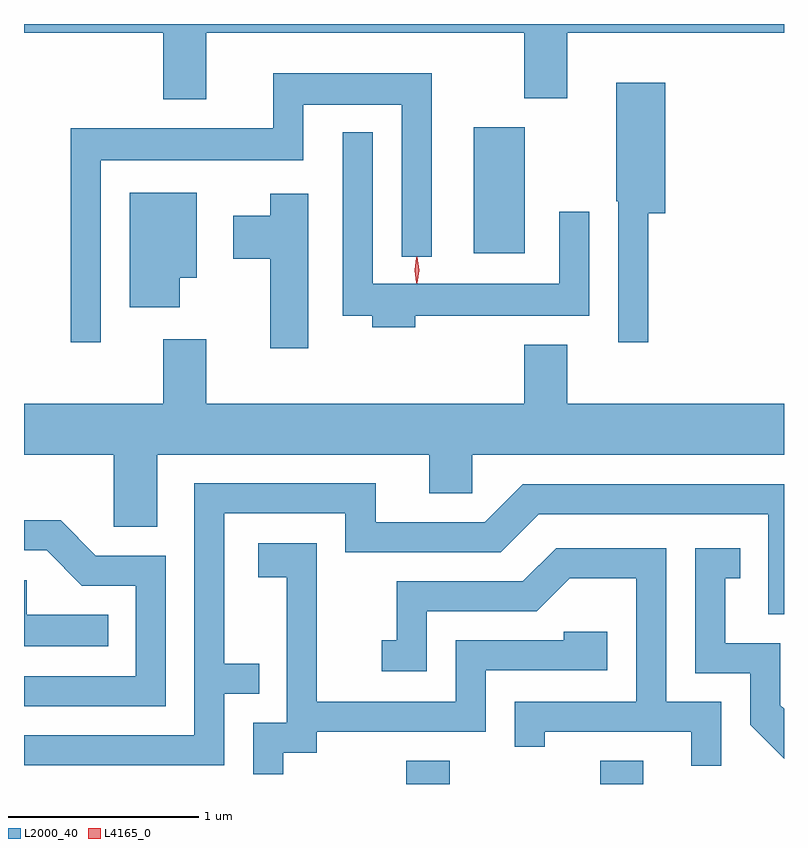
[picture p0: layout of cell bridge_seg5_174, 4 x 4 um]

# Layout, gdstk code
import gdstk
lib = gdstk.Library(unit=1e-6, precision=1e-09)
def R(c, l, rs):  # rectangles x0, y0, x1, y1
    for r in rs: c.add(gdstk.rectangle(r[:2], r[2:], *l))
def P(c, l, *ps):  # polygons
    for p in ps: c.add(gdstk.Polygon(p, *l))
L2000_40 = (2000, 40)
L4165_0 = (4165, 0)

bridge_seg5_174 = lib.new_cell('bridge_seg5_174')
R(bridge_seg5_174, L2000_40, [(1241.281,1412.882,1241.509,1413.004), (1242.301,1412.882,1242.529,1413.004), (1241.636,1415.676,1241.904,1416.339)])
P(bridge_seg5_174, L2000_40, [(1240.229,1416.836),(1241.901,1416.836),(1241.901,1416.491),(1242.129,1416.491),(1242.129,1416.836),(1243.269,1416.836),(1243.269,1416.882),(1239.269,1416.882),(1239.269,1416.836),(1240.001,1416.836),(1240.001,1416.486),(1240.229,1416.486)],
  [(1239.674,1416.166),(1240.739,1416.166),(1240.739,1416.456),(1241.256,1416.456),(1241.256,1415.658),(1241.414,1415.658),(1241.414,1416.624),(1240.581,1416.624),(1240.581,1416.334),(1239.516,1416.334),(1239.516,1415.208),(1239.674,1415.208)],
  [(1242.554,1415.886),(1242.644,1415.886),(1242.644,1416.574),(1242.386,1416.574),(1242.386,1415.95),(1242.396,1415.95),(1242.396,1415.208),(1242.554,1415.208)],
  [(1241.329,1415.346),(1242.244,1415.346),(1242.244,1415.893),(1242.086,1415.893),(1242.086,1415.514),(1241.104,1415.514),(1241.104,1416.313),(1240.946,1416.313),(1240.946,1415.346),(1241.101,1415.346),(1241.101,1415.286),(1241.329,1415.286)],
  [(1240.089,1415.546),(1240.179,1415.546),(1240.179,1415.994),(1239.826,1415.994),(1239.826,1415.391),(1240.089,1415.391)],
  [(1240.764,1415.989),(1240.566,1415.989),(1240.566,1415.874),(1240.371,1415.874),(1240.371,1415.646),(1240.566,1415.646),(1240.566,1415.176),(1240.764,1415.176)],
  [(1239.969,1414.616),(1241.401,1414.616),(1241.401,1414.411),(1241.629,1414.411),(1241.629,1414.616),(1243.269,1414.616),(1243.269,1414.884),(1242.129,1414.884),(1242.129,1415.194),(1241.901,1415.194),(1241.901,1414.884),(1240.229,1414.884),(1240.229,1415.224),(1240.001,1415.224),(1240.001,1414.884),(1239.269,1414.884),(1239.269,1414.616),(1239.741,1414.616),(1239.741,1414.236),(1239.969,1414.236)],
  [(1240.324,1413.356),(1240.508,1413.356),(1240.508,1413.514),(1240.324,1413.514),(1240.324,1414.306),(1240.961,1414.306),(1240.961,1414.101),(1241.777,1414.101),(1241.977,1414.301),(1243.186,1414.301),(1243.186,1413.776),(1243.269,1413.776),(1243.269,1414.459),(1241.894,1414.459),(1241.694,1414.259),(1241.119,1414.259),(1241.119,1414.464),(1240.166,1414.464),(1240.166,1413.139),(1239.269,1413.139),(1239.269,1412.981),(1240.324,1412.981)],
  [(1240.014,1414.084),(1239.647,1414.084),(1239.462,1414.269),(1239.269,1414.269),(1239.269,1414.111),(1239.389,1414.111),(1239.574,1413.926),(1239.856,1413.926),(1239.856,1413.449),(1239.269,1413.449),(1239.269,1413.291),(1240.014,1413.291)],
  [(1240.634,1413.046),(1240.809,1413.046),(1240.809,1413.156),(1241.699,1413.156),(1241.699,1413.481),(1242.339,1413.481),(1242.339,1413.684),(1242.111,1413.684),(1242.111,1413.639),(1241.541,1413.639),(1241.541,1413.314),(1240.809,1413.314),(1240.809,1414.149),(1240.501,1414.149),(1240.501,1413.971),(1240.651,1413.971),(1240.651,1413.204),(1240.476,1413.204),(1240.476,1412.933),(1240.634,1412.933)],
  [(1243.269,1413.277),(1243.249,1413.297),(1243.249,1413.624),(1242.959,1413.624),(1242.959,1413.966),(1243.038,1413.966),(1243.038,1414.124),(1242.801,1414.124),(1242.801,1413.466),(1243.091,1413.466),(1243.091,1413.194),(1243.269,1413.016)],
  [(1242.939,1413.314),(1242.649,1413.314),(1242.649,1414.124),(1242.069,1414.124),(1241.894,1413.949),(1241.231,1413.949),(1241.231,1413.639),(1241.153,1413.639),(1241.153,1413.476),(1241.389,1413.476),(1241.389,1413.791),(1241.967,1413.791),(1242.142,1413.966),(1242.491,1413.966),(1242.491,1413.314),(1241.851,1413.314),(1241.851,1413.078),(1242.009,1413.078),(1242.009,1413.156),(1242.781,1413.156),(1242.781,1412.978),(1242.939,1412.978)],
  [(1239.713,1413.774),(1239.284,1413.774),(1239.284,1413.954),(1239.269,1413.954),(1239.269,1413.606),(1239.713,1413.606)])
P(bridge_seg5_174, L4165_0, [(1241.337,1415.517),(1241.328,1415.587),(1241.337,1415.656),(1241.338,1415.656),(1241.338,1415.656),(1241.348,1415.587),(1241.338,1415.517),(1241.338,1415.517)],
  [(1241.334,1415.52),(1241.325,1415.586),(1241.334,1415.652),(1241.335,1415.653),(1241.336,1415.652),(1241.345,1415.586),(1241.336,1415.52),(1241.335,1415.52)])

lib.write_gds('bridge_seg5_174.gds')
